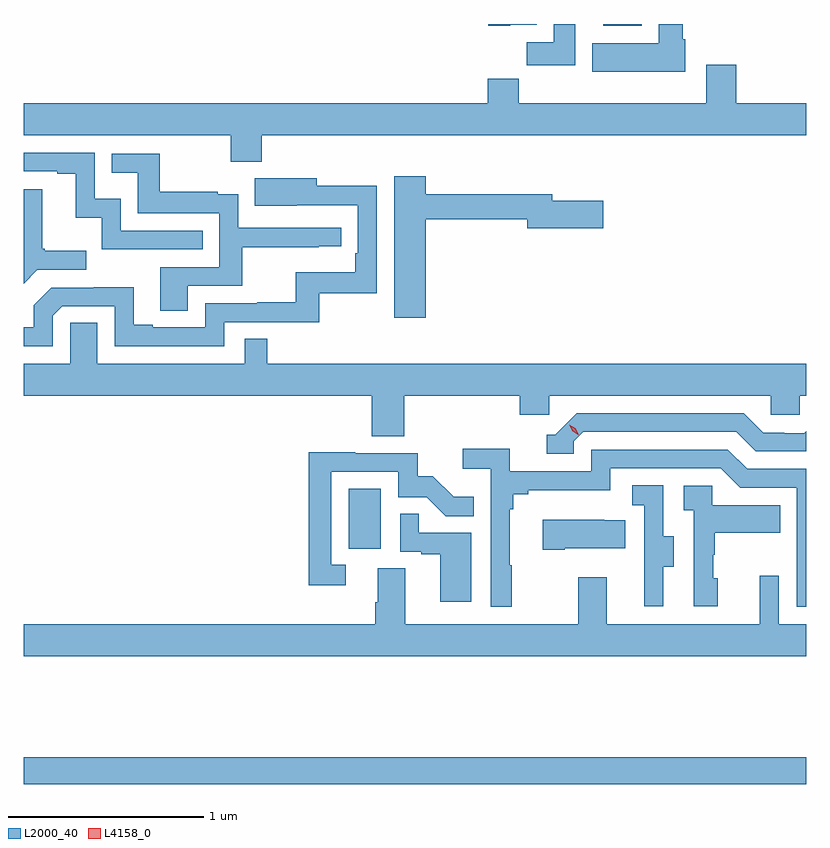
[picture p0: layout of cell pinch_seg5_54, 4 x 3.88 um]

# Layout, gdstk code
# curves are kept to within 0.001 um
import gdstk
lib = gdstk.Library(unit=1e-6, precision=1e-09)
def R(c, l, rs):  # rectangles x0, y0, x1, y1
    for r in rs: c.add(gdstk.rectangle(r[:2], r[2:], *l))
def P(c, l, *ps):  # polygons
    for p in ps: c.add(gdstk.Polygon(p, *l))
L2000_40 = (2000, 40)
L4158_0 = (4158, 0)

pinch_seg5_54 = lib.new_cell('pinch_seg5_54')
R(pinch_seg5_54, L2000_40, [(1080.296,893.404,1084.296,893.54), (1081.958,894.606,1082.122,894.913), (1083.257,897.278,1083.454,897.288)])
P(pinch_seg5_54, L2000_40, [(1083.115,897.288),(1083.005,897.288),(1083.005,897.196),(1082.866,897.196),(1082.866,897.078),(1083.115,897.078)],
  [(1082.784,897.284),(1082.917,897.284),(1082.917,897.288),(1082.67,897.288),(1082.67,897.278),(1082.784,897.278)],
  [(1083.676,897.21),(1083.664,897.21),(1083.664,897.288),(1083.542,897.288),(1083.542,897.19),(1083.203,897.19),(1083.203,897.044),(1083.676,897.044)],
  [(1081.514,896.72),(1084.296,896.72),(1084.296,896.884),(1083.938,896.884),(1083.938,897.079),(1083.785,897.079),(1083.785,896.884),(1082.825,896.884),(1082.825,897.008),(1082.669,897.008),(1082.669,896.884),(1080.296,896.884),(1080.296,896.72),(1081.354,896.72),(1081.354,896.585),(1081.514,896.585)],
  [(1081.211,896.232),(1080.792,896.232),(1080.792,896.395),(1080.66,896.395),(1080.66,896.631),(1080.296,896.631),(1080.296,896.535),(1080.467,896.535),(1080.467,896.523),(1080.563,896.523),(1080.563,896.297),(1080.696,896.297),(1080.696,896.136),(1081.211,896.136)],
  [(1081.135,895.95),(1081.412,895.95),(1081.412,896.146),(1081.805,896.146),(1081.805,896.151),(1081.918,896.151),(1081.918,896.247),(1081.392,896.247),(1081.392,896.419),(1081.289,896.419),(1081.289,896.431),(1080.991,896.431),(1080.991,896.625),(1080.745,896.625),(1080.745,896.528),(1080.88,896.528),(1080.88,896.322),(1081.296,896.322),(1081.296,896.046),(1080.995,896.046),(1080.995,895.822),(1081.135,895.822)],
  [(1082.35,896.29),(1082.87,896.29),(1082.87,896.243),(1083.259,896.243),(1083.259,896.385),(1082.998,896.385),(1082.998,896.419),(1082.35,896.419),(1082.35,896.509),(1082.189,896.509),(1082.189,895.788),(1082.35,895.788)],
  [(1080.444,895.797),(1080.492,895.845),(1080.762,895.845),(1080.762,895.641),(1081.32,895.641),(1081.32,895.764),(1081.807,895.764),(1081.807,895.911),(1082.1,895.911),(1082.1,896.462),(1081.795,896.462),(1081.795,896.5),(1081.477,896.5),(1081.477,896.36),(1082.004,896.361),(1082.004,896.116),(1081.991,896.116),(1081.991,896.02),(1081.686,896.02),(1081.686,895.865),(1081.489,895.865),(1081.489,895.86),(1081.224,895.86),(1081.224,895.737),(1080.955,895.737),(1080.955,895.75),(1080.859,895.75),(1080.859,895.943),(1080.654,895.943),(1080.654,895.941),(1080.438,895.941),(1080.348,895.851),(1080.348,895.737),(1080.296,895.737),(1080.296,895.641),(1080.444,895.641)],
  [(1080.366,896.031),(1080.616,896.031),(1080.616,896.128),(1080.403,896.128),(1080.403,896.14),(1080.391,896.14),(1080.391,896.443),(1080.296,896.443),(1080.296,895.961)],
  [(1082.24,895.388),(1082.831,895.388),(1082.831,895.29),(1082.982,895.29),(1082.982,895.388),(1084.113,895.388),(1084.113,895.29),(1084.263,895.29),(1084.263,895.388),(1084.296,895.388),(1084.296,895.552),(1081.541,895.552),(1081.541,895.679),(1081.425,895.679),(1081.425,895.552),(1080.673,895.552),(1080.673,895.76),(1080.534,895.76),(1080.534,895.552),(1080.296,895.552),(1080.296,895.388),(1082.075,895.388),(1082.075,895.18),(1082.24,895.18)],
  [(1083.108,895.155),(1083.156,895.203),(1083.939,895.203),(1084.038,895.104),(1084.296,895.104),(1084.296,895.208),(1084.285,895.197),(1084.182,895.197),(1084.182,895.2),(1084.075,895.2),(1083.976,895.299),(1083.123,895.299),(1083.012,895.188),(1082.969,895.188),(1082.969,895.092),(1083.108,895.092)],
  [(1082.791,894.521),(1082.779,894.521),(1082.779,894.809),(1082.798,894.809),(1082.798,894.886),(1082.875,894.886),(1082.875,894.905),(1083.294,894.905),(1083.294,895.017),(1083.858,895.017),(1083.957,894.918),(1084.248,894.918),(1084.248,894.309),(1084.296,894.309),(1084.296,895.014),(1083.994,895.014),(1083.895,895.113),(1083.198,895.113),(1083.198,895.002),(1082.78,895.002),(1082.78,895.118),(1082.541,895.118),(1082.541,895.016),(1082.682,895.016),(1082.682,894.309),(1082.791,894.309)],
  [(1081.942,894.525),(1081.869,894.525),(1081.869,894.999),(1082.211,894.999),(1082.211,894.87),(1082.355,894.87),(1082.453,894.772),(1082.597,894.772),(1082.597,894.871),(1082.493,894.871),(1082.386,894.978),(1082.31,894.978),(1082.31,895.095),(1081.991,895.095),(1081.991,895.1),(1081.753,895.1),(1081.753,894.42),(1081.942,894.42)],
  [(1083.565,894.514),(1083.619,894.514),(1083.619,894.669),(1083.564,894.669),(1083.564,894.932),(1083.405,894.932),(1083.405,894.829),(1083.468,894.829),(1083.468,894.525),(1083.467,894.525),(1083.467,894.312),(1083.565,894.312)],
  [(1083.844,894.456),(1083.819,894.456),(1083.819,894.575),(1083.829,894.575),(1083.829,894.689),(1084.163,894.689),(1084.163,894.829),(1083.816,894.829),(1083.816,894.927),(1083.669,894.927),(1083.669,894.803),(1083.72,894.803),(1083.72,894.312),(1083.844,894.312)],
  [(1082.584,894.687),(1082.315,894.687),(1082.315,894.785),(1082.22,894.785),(1082.22,894.591),(1082.327,894.591),(1082.327,894.579),(1082.426,894.579),(1082.426,894.336),(1082.584,894.336)],
  [(1083.061,894.608),(1083.371,894.608),(1083.371,894.751),(1083.263,894.751),(1083.263,894.754),(1082.949,894.754),(1082.949,894.601),(1083.061,894.601)],
  [(1084.058,894.469),(1084.058,894.22),(1083.277,894.22),(1083.277,894.46),(1083.13,894.46),(1083.13,894.22),(1082.245,894.22),(1082.245,894.506),(1082.105,894.506),(1082.105,894.332),(1082.093,894.332),(1082.093,894.22),(1080.296,894.22),(1080.296,894.056),(1084.296,894.056),(1084.296,894.22),(1084.155,894.22),(1084.155,894.469)])
P(pinch_seg5_54, L4158_0, [(1083.131,895.189),(1083.101,895.208),(1083.084,895.24),(1083.084,895.24),(1083.084,895.24),(1083.115,895.221),(1083.132,895.189),(1083.132,895.189)])

lib.write_gds('pinch_seg5_54.gds')
